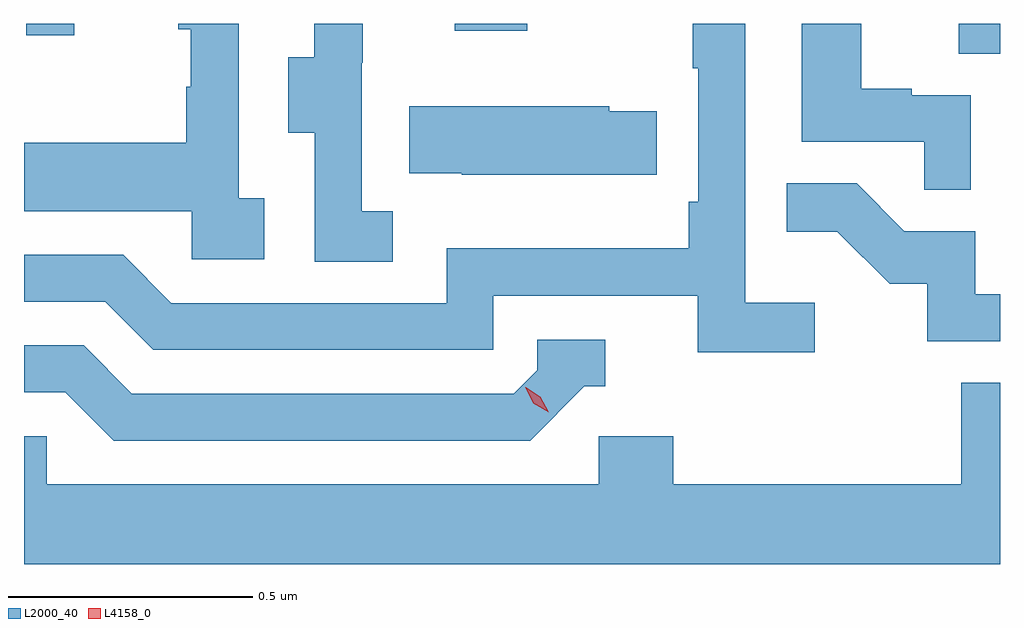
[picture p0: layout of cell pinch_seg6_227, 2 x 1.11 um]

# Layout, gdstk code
import gdstk
lib = gdstk.Library(unit=1e-6, precision=1e-09)
def R(c, l, rs):  # rectangles x0, y0, x1, y1
    for r in rs: c.add(gdstk.rectangle(r[:2], r[2:], *l))
def P(c, l, *ps):  # polygons
    for p in ps: c.add(gdstk.Polygon(p, *l))
L2000_40 = (2000, 40)
L4158_0 = (4158, 0)

pinch_seg6_227 = lib.new_cell('pinch_seg6_227')
R(pinch_seg6_227, L2000_40, [(1081.877,933.73,1081.962,933.791), (1079.967,933.768,1080.065,933.791), (1080.845,933.777,1080.993,933.791)])
P(pinch_seg6_227, L2000_40, [(1080.718,933.407),(1080.654,933.407),(1080.654,933.711),(1080.656,933.711),(1080.656,933.791),(1080.557,933.791),(1080.557,933.723),(1080.503,933.723),(1080.503,933.568),(1080.558,933.568),(1080.558,933.304),(1080.718,933.304)],
  [(1081.582,933.22),(1081.44,933.22),(1081.44,933.791),(1081.332,933.791),(1081.332,933.7),(1081.344,933.7),(1081.344,933.427),(1081.324,933.427),(1081.324,933.331),(1080.828,933.331),(1080.828,933.219),(1080.264,933.219),(1080.165,933.318),(1079.962,933.318),(1079.962,933.222),(1080.128,933.222),(1080.227,933.123),(1080.924,933.123),(1080.924,933.234),(1081.343,933.234),(1081.343,933.118),(1081.582,933.118)],
  [(1081.902,933.645),(1081.781,933.645),(1081.781,933.658),(1081.678,933.658),(1081.678,933.791),(1081.556,933.791),(1081.556,933.549),(1081.807,933.549),(1081.807,933.451),(1081.902,933.451)],
  [(1080.454,933.434),(1080.402,933.434),(1080.402,933.791),(1080.278,933.791),(1080.278,933.78),(1080.304,933.78),(1080.304,933.662),(1080.294,933.662),(1080.294,933.547),(1079.962,933.547),(1079.962,933.407),(1080.306,933.407),(1080.306,933.309),(1080.454,933.309)],
  [(1081.259,933.612),(1081.161,933.612),(1081.161,933.622),(1080.751,933.622),(1080.751,933.485),(1080.859,933.485),(1080.859,933.482),(1081.259,933.482)],
  [(1081.962,933.237),(1081.911,933.237),(1081.911,933.366),(1081.766,933.366),(1081.668,933.464),(1081.525,933.464),(1081.525,933.365),(1081.629,933.365),(1081.736,933.258),(1081.813,933.258),(1081.813,933.141),(1081.962,933.141)],
  [(1081.11,933.048),(1081.153,933.048),(1081.153,933.144),(1081.014,933.144),(1081.014,933.081),(1080.966,933.033),(1080.183,933.033),(1080.084,933.132),(1079.962,933.132),(1079.962,933.036),(1080.047,933.036),(1080.146,932.937),(1080.999,932.937)],
  [(1081.962,933.056),(1081.883,933.056),(1081.883,932.848),(1081.292,932.848),(1081.292,932.946),(1081.14,932.946),(1081.14,932.848),(1080.009,932.848),(1080.009,932.946),(1079.962,932.946),(1079.962,932.684),(1081.962,932.684)])
P(pinch_seg6_227, L4158_0, [(1081.037,932.995),(1081.006,933.014),(1080.989,933.046),(1080.989,933.046),(1080.99,933.046),(1081.02,933.027),(1081.037,932.995),(1081.037,932.995)])

lib.write_gds('pinch_seg6_227.gds')
